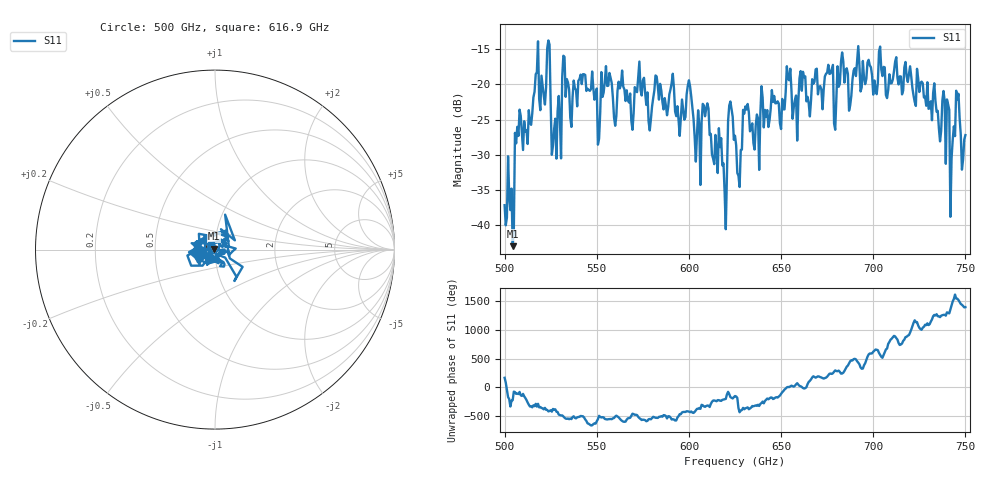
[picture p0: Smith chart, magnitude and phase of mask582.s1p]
!Created with skrf (http://scikit-rf.org).
# GHz S MA R 50.0
!freq magS11 angS11
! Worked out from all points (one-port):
!   401 points, 500 GHz to 750 GHz, reference 50 ohm
!   lowest |S11| = -43.0 dB at 504.4 GHz (marker M1), VSWR 1.01, Z = 49.5 + j0.478 ohm
!   |S11| at or under -10 dB: start of sweep to end of sweep
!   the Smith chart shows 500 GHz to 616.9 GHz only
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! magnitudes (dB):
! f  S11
! 500 GHz  -37.2
! 504.4 GHz  -43.0
! 506.9 GHz  -26.0
! 513.8 GHz  -25.4
! 516.9 GHz  -18.5
! 523.8 GHz  -13.7
! 526.9 GHz  -26.3
! 531.2 GHz  -18.9
! 562.5 GHz  -20.6
! 579.4 GHz  -24.9
! 590.6 GHz  -19.8
! 593.8 GHz  -23.1
! 600 GHz  -19.4
! 605 GHz  -23.7
! 609.4 GHz  -23.4
! 619.4 GHz  -35.4
! 622.5 GHz  -22.4
! 625 GHz  -27.3
! 627.5 GHz  -34.6
! 630.6 GHz  -23.1
! 636.9 GHz  -24.3
! 656.2 GHz  -24.9
! 687.5 GHz  -23.0
! 718.8 GHz  -19.6
! 739.4 GHz  -31.3
! 743.1 GHz  -27.9
! 745.6 GHz  -22.1
! 750 GHz  -27.2
